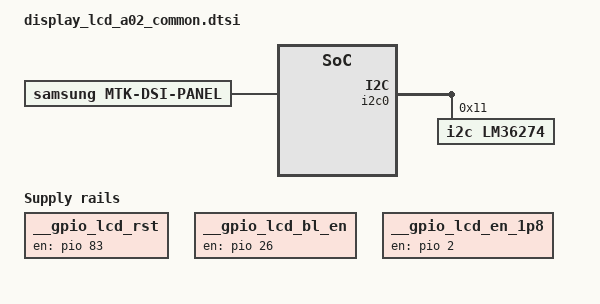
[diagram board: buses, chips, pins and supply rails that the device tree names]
/*
 * SAMSUNG LCD Panel Device Tree Source
 *
 * Copyright (c) Samsung Electronics Co., Ltd.
 *		http://www.samsung.com
 *
 * This program is free software; you can redistribute it and/or modify
 * it under the terms of the GNU General Public License version 2 as
 * published by the Free Software Foundation.
 */

/ {
	fragment@lcd {
		target-path = "/";
		__overlay__ {
			panel {
				compatible = "samsung,mtk-dsi-panel";
				smcdsd_panel = <&nt36525b>;
			};

			lcd_fixed_regulator: lcd_fixed_regulator {
				compatible = "simple-bus";

				__gpio_lcd_rst: __gpio_lcd_rst {
					compatible = "regulator-fixed";
					regulator-name = "gpio_lcd_rst";
					gpio = <&pio 83 0>;	/* LCD_RST */
					enable-active-high;
					regulator-boot-on;
				};
				__gpio_lcd_bl_en: __gpio_lcd_bl_en {
					compatible = "regulator-fixed";
					regulator-name = "gpio_lcd_bl_en";
					gpio = <&pio 26 0>;	/* LCD_BL_EN */
					enable-active-high;
					regulator-boot-on;
				};
				__gpio_lcd_en_1p8: __gpio_lcd_en_1p8 {
					compatible = "regulator-fixed";
					regulator-name = "gpio_lcd_en_1p8";
					gpio = <&pio 2 0>;	/* LCD_EN_1P8 */
					enable-active-high;
					regulator-boot-on;
				};
			};

			smcdsd_board_nt36525b: smcdsd_board_nt36525b {
				gpio_con = <&pio 29 0x0>;	/* LCD_CON_DET */
				//gpio_det = <&pio 1 0x1>;	/* LCD_ESD_DET */

				panel_power_enable {
					type =
					"regulator,enable",	"gpio_lcd_en_1p8",
					"delay,usleep",	"2000",
					"regulator,enable",	"gpio_lcd_bl_en",
					"delay,usleep",	"2000";
				};
				panel_power_disable {
					type =
					"delay,usleep",	"3000",
					"regulator,disable",	"gpio_lcd_bl_en",
					"delay,usleep",	"5000",
					"regulator,disable",	"gpio_lcd_en_1p8",
					"delay,msleep",	"33";
				};
				panel_reset_enable {
					type =
					"delay,usleep",	"10000",
					"regulator,enable",	"gpio_lcd_rst",
					"delay,usleep",	"5000",
					"regulator,disable",	"gpio_lcd_rst",
					"delay,usleep",	"3500",
					"regulator,enable",	"gpio_lcd_rst",
					"delay,usleep",	"10000";
				};
				panel_reset_disable {
					type =
					"delay,msleep",	"60",
					"regulator,disable",	"gpio_lcd_rst",
					"delay,usleep",	"5000";
				};
				panel_regulator_init {
					type =
					"regulator,enable",	"gpio_lcd_en_1p8",
					"regulator,enable",	"gpio_lcd_rst",
					"regulator,enable",	"gpio_lcd_bl_en";
				};
			};

			nt36525b: nt36525b {
				/* id_match: MASK(HEX) EXPECT(HEX) */
				id_match = <
					0xFFFFFF 0x0AA240	/* A12 LCD */
					0xFFFFFF 0x1AA240	/* A32X LCD */
				>;
				lcm_params-types = <2>; /* 0: LCM_TYPE_DBI, 1: LCM_TYPE_DPI, 2: LCM_TYPE_DSI */
				lcm_params-dsi-mode = <3>;	/* 0: CMD, 1: SYNC_PULSE_VDO, 2: SYNC_EVENT_VDO, 3: BURST_VDO */
				lcm_params-dsi-lane_num = <3>;
				lcm_params-dsi-packet_size = <256>;
				lcm_params-dsi-ps = <2>; /* 2: LCM_PACKED_PS_24BIT_RGB888 */

				lcm_params-resolution = <720 1600>;
				lcm_params-physical_width = <68>;		/* 67.932 x 150.96 */
				lcm_params-physical_height = <151>;

				lcm_params-dsi-vertical_sync_active = <2>;
				lcm_params-dsi-vertical_backporch = <252>;
				lcm_params-dsi-vertical_frontporch = <8>;
				lcm_params-dsi-horizontal_sync_active = <20>;
				lcm_params-dsi-horizontal_backporch = <78>;
				lcm_params-dsi-horizontal_frontporch = <60>;

				lcm_params-dsi-data_rate = <830>;

				lcm_params-dsi-ssc_disable = <1>;
				lcm_params-dsi-cont_clock = <1>;

				smcdsd_board = <&smcdsd_board_nt36525b>;
			};

			smcdsd_board_ili7806s: smcdsd_board_ili7806s {
				gpio_con = <&pio 29 0x0>;	/* LCD_CON_DET */
				//gpio_det = <&pio 1 0x1>;	/* LCD_ESD_DET */

				panel_power_enable {
					type =
					"regulator,enable",	"gpio_lcd_en_1p8",
					"delay,usleep",	"2000",
					"regulator,enable",	"gpio_lcd_bl_en",
					"delay,usleep",	"2000";
				};
				panel_power_disable {
					type =
					"delay,usleep",	"3000",
					"regulator,disable",	"gpio_lcd_bl_en",
					"delay,usleep",	"5000",
					"regulator,disable",	"gpio_lcd_en_1p8",
					"delay,usleep",	"5000";
				};
				panel_reset_enable {
					type =
					"delay,usleep",	"4000",
					"regulator,enable",	"gpio_lcd_rst",
					"delay,usleep",	"1000",
					"regulator,disable",	"gpio_lcd_rst",
					"delay,usleep",	"1000",
					"regulator,enable",	"gpio_lcd_rst",
					"delay,msleep",	"25";
				};
				panel_reset_disable {
					type =
					"delay,msleep",	"90",
					"regulator,disable",	"gpio_lcd_rst",
					"delay,usleep",	"5000";
				};
				panel_regulator_init {
					type =
					"regulator,enable",	"gpio_lcd_en_1p8",
					"regulator,enable",	"gpio_lcd_rst",
					"regulator,enable",	"gpio_lcd_bl_en";
				};
			};

			ili7806s: ili7806s {
				/* id_match: MASK(HEX) EXPECT(HEX) */
				id_match = <
					0xFFFFFF 0xAA7250
				>;
				lcm_params-types = <2>; /* 0: LCM_TYPE_DBI, 1: LCM_TYPE_DPI, 2: LCM_TYPE_DSI */
				lcm_params-dsi-mode = <3>;	/* 0: CMD, 1: SYNC_PULSE_VDO, 2: SYNC_EVENT_VDO, 3: BURST_VDO */
				lcm_params-dsi-lane_num = <3>;
				lcm_params-dsi-packet_size = <256>;
				lcm_params-dsi-ps = <2>; /* 2: LCM_PACKED_PS_24BIT_RGB888 */

				lcm_params-resolution = <720 1600>;
				lcm_params-physical_width = <68>;		/* 67.93 x 150.96 */
				lcm_params-physical_height = <151>;

				lcm_params-dsi-vertical_sync_active = <2>;
				lcm_params-dsi-vertical_backporch = <6>;
				lcm_params-dsi-vertical_frontporch = <38>;
				lcm_params-dsi-horizontal_sync_active = <12>;
				lcm_params-dsi-horizontal_backporch = <136>;
				lcm_params-dsi-horizontal_frontporch = <136>;

				lcm_params-dsi-data_rate = <830>;
				lcm_params-dsi-ssc_disable = <1>;
				lcm_params-dsi-cont_clock = <1>;

				smcdsd_board = <&smcdsd_board_ili7806s>;
			};

			nt36675: nt36675 {
				/* id_match: MASK(HEX) EXPECT(HEX) */
				id_match = <
					0xFFFFFF 0x1AF240
				>;
				lcm_params-types = <2>; /* 0: LCM_TYPE_DBI, 1: LCM_TYPE_DPI, 2: LCM_TYPE_DSI */
				lcm_params-dsi-mode = <3>;	/* 0: CMD, 1: SYNC_PULSE_VDO, 2: SYNC_EVENT_VDO, 3: BURST_VDO */
				lcm_params-dsi-lane_num = <3>;
				lcm_params-dsi-packet_size = <256>;
				lcm_params-dsi-ps = <2>; /* 2: LCM_PACKED_PS_24BIT_RGB888 */

				lcm_params-resolution = <720 1600>;
				lcm_params-physical_width = <68>;		/* 67.93mm x 150.96mm */
				lcm_params-physical_height = <151>;

				lcm_params-dsi-vertical_sync_active = <2>;
				lcm_params-dsi-vertical_backporch = <252>;
				lcm_params-dsi-vertical_frontporch = <18>;
				lcm_params-dsi-horizontal_sync_active = <22>;
				lcm_params-dsi-horizontal_backporch = <34>;
				lcm_params-dsi-horizontal_frontporch = <96>;

				lcm_params-dsi-data_rate = <830>;

				lcm_params-dsi-ssc_disable = <1>;
				lcm_params-dsi-cont_clock = <1>;

				smcdsd_board = <&smcdsd_board_nt36525b>;
			};

			nt36525b_boe: nt36525b_boe {
				/* id_match: MASK(HEX) EXPECT(HEX) */
				id_match = <
					0xFFFFFF 0x2A6240	/* A02 A12 LCD */
				>;
				lcm_params-types = <2>; /* 0: LCM_TYPE_DBI, 1: LCM_TYPE_DPI, 2: LCM_TYPE_DSI */
				lcm_params-dsi-mode = <3>;	/* 0: CMD, 1: SYNC_PULSE_VDO, 2: SYNC_EVENT_VDO, 3: BURST_VDO */
				lcm_params-dsi-lane_num = <3>;
				lcm_params-dsi-packet_size = <256>;
				lcm_params-dsi-ps = <2>; /* 2: LCM_PACKED_PS_24BIT_RGB888 */

				lcm_params-resolution = <720 1600>;
				lcm_params-physical_width = <68>;		/* 67.93mm x 150.96mm */
				lcm_params-physical_height = <151>;

				lcm_params-dsi-vertical_sync_active = <2>;
				lcm_params-dsi-vertical_backporch = <254>;
				lcm_params-dsi-vertical_frontporch = <18>;
				lcm_params-dsi-horizontal_sync_active = <4>;
				lcm_params-dsi-horizontal_backporch = <74>;
				lcm_params-dsi-horizontal_frontporch = <74>;

				lcm_params-dsi-data_rate = <830>;

				lcm_params-dsi-ssc_disable = <1>;
				lcm_params-dsi-cont_clock = <1>;

				/* use CSOT's smcdsd_board */
				smcdsd_board = <&smcdsd_board_nt36525b>;
			};

			ili9882n_boe: ili9882n_boe {
				/* id_match: MASK(HEX) EXPECT(HEX) */
				id_match = <
					0xFFFFFF 0x2A6250
				>;
				lcm_params-types = <2>; /* 0: LCM_TYPE_DBI, 1: LCM_TYPE_DPI, 2: LCM_TYPE_DSI */
				lcm_params-dsi-mode = <3>; /* 0: CMD, 1: SYNC_PULSE_VDO, 2: SYNC_EVENT_VDO, 3: BURST_VDO */
				lcm_params-dsi-lane_num = <3>;
				lcm_params-dsi-packet_size = <256>;
				lcm_params-dsi-ps = <2>; /* 2: LCM_PACKED_PS_24BIT_RGB888 */

				lcm_params-resolution = <720 1600>;
				lcm_params-physical_width = <68>;		/* 67.93 x 150.96 */
				lcm_params-physical_height = <151>;

				lcm_params-dsi-vertical_sync_active = <2>;
				lcm_params-dsi-vertical_backporch = <18>;
				lcm_params-dsi-vertical_frontporch = <250>;
				lcm_params-dsi-horizontal_sync_active = <34>;
				lcm_params-dsi-horizontal_backporch = <60>;
				lcm_params-dsi-horizontal_frontporch = <60>;

				lcm_params-dsi-data_rate = <830>;
				lcm_params-dsi-ssc_disable = <1>;
				lcm_params-dsi-cont_clock = <1>;

				smcdsd_board = <&smcdsd_board_ili7806s>;
			};

			ili9882q_boe: ili9882q_boe {
				/* id_match: MASK(HEX) EXPECT(HEX) */
				id_match = <
					0xFFFFFF 0x7A6250	/* A02 */
				>;
				lcm_params-types = <2>; /* 0: LCM_TYPE_DBI, 1: LCM_TYPE_DPI, 2: LCM_TYPE_DSI */
				lcm_params-dsi-mode = <3>; /* 0: CMD, 1: SYNC_PULSE_VDO, 2: SYNC_EVENT_VDO, 3: BURST_VDO */
				lcm_params-dsi-lane_num = <3>;
				lcm_params-dsi-packet_size = <256>;
				lcm_params-dsi-ps = <2>; /* 2: LCM_PACKED_PS_24BIT_RGB888 */

				lcm_params-resolution = <720 1600>;
				lcm_params-physical_width = <68>;		/* 67.93 x 150.96 */
				lcm_params-physical_height = <151>;

				lcm_params-dsi-vertical_sync_active = <2>;
				lcm_params-dsi-vertical_backporch = <18>;
				lcm_params-dsi-vertical_frontporch = <250>;
				lcm_params-dsi-horizontal_sync_active = <34>;
				lcm_params-dsi-horizontal_backporch = <60>;
				lcm_params-dsi-horizontal_frontporch = <60>;

				lcm_params-dsi-data_rate = <830>;
				lcm_params-dsi-ssc_disable = <1>;
				lcm_params-dsi-cont_clock = <1>;

				smcdsd_board = <&smcdsd_board_ili7806s>;
			};
		};
	};
};

&i2c0 {
	status = "okay";

	lm36274@11 {
		compatible = "i2c,lm36274";
		reg = <0x11>;
	};
};

&led6 {
	compatible;
};

&i2c_lcd_bias_mtk {
	compatible;
	status = "disabled";
};

